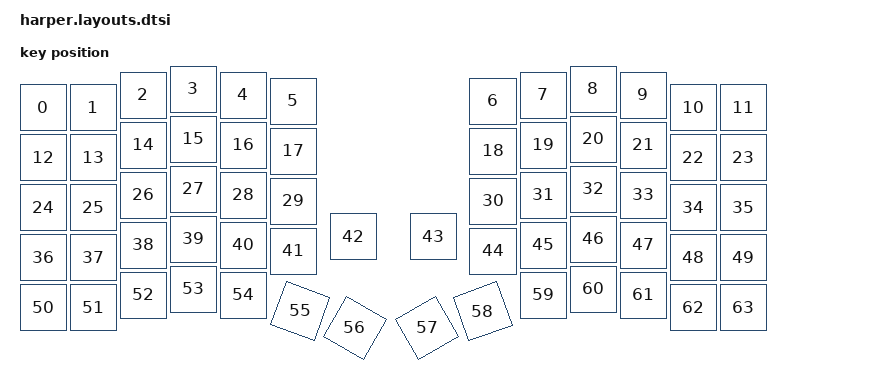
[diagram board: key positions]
#include <physical_layouts.dtsi>

/ {
    harper_position_map: harper_position_map {
        compatible = "zmk,physical-layout-position-map";
        complete;
    };
};

&harper_position_map {
    harper_posmap: full {
        physical-layout = <&harper_layout>;
        positions
            = < 0  1  2  3  4  5        6  7  8  9  10 11 >
            , < 12 13 14 15 16 17       18 19 20 21 22 23 >
            , < 24 25 26 27 28 29       30 31 32 33 34 35 >
            , < 36 37 38 39 40 41       42 43 44 45 46 47 >
            , < 48 49 50 51 52 53 54 55 56 57 58 59 60 61 62 63>;
    };
};

/ {
    harper_layout: harper_layout {
        compatible = "zmk,physical-layout";
        display-name = "Default";

        keys  //                     w   h    x    y     rot    rx    ry
            = <&key_physical_attrs 100 100    0   37       0     0     0>
            , <&key_physical_attrs 100 100  100   37       0     0     0>
            , <&key_physical_attrs 100 100  200   12       0     0     0>
            , <&key_physical_attrs 100 100  300    0       0     0     0>
            , <&key_physical_attrs 100 100  400   12       0     0     0>
            , <&key_physical_attrs 100 100  500   24       0     0     0>
            , <&key_physical_attrs 100 100  900   24       0     0     0>
            , <&key_physical_attrs 100 100 1000   12       0     0     0>
            , <&key_physical_attrs 100 100 1100    0       0     0     0>
            , <&key_physical_attrs 100 100 1200   12       0     0     0>
            , <&key_physical_attrs 100 100 1300   37       0     0     0>
            , <&key_physical_attrs 100 100 1400   37       0     0     0>
            , <&key_physical_attrs 100 100    0  137       0     0     0>
            , <&key_physical_attrs 100 100  100  137       0     0     0>
            , <&key_physical_attrs 100 100  200  112       0     0     0>
            , <&key_physical_attrs 100 100  300  100       0     0     0>
            , <&key_physical_attrs 100 100  400  112       0     0     0>
            , <&key_physical_attrs 100 100  500  124       0     0     0>
            , <&key_physical_attrs 100 100  900  124       0     0     0>
            , <&key_physical_attrs 100 100 1000  112       0     0     0>
            , <&key_physical_attrs 100 100 1100  100       0     0     0>
            , <&key_physical_attrs 100 100 1200  112       0     0     0>
            , <&key_physical_attrs 100 100 1300  137       0     0     0>
            , <&key_physical_attrs 100 100 1400  137       0     0     0>
            , <&key_physical_attrs 100 100    0  237       0     0     0>
            , <&key_physical_attrs 100 100  100  237       0     0     0>
            , <&key_physical_attrs 100 100  200  212       0     0     0>
            , <&key_physical_attrs 100 100  300  200       0     0     0>
            , <&key_physical_attrs 100 100  400  212       0     0     0>
            , <&key_physical_attrs 100 100  500  224       0     0     0>
            , <&key_physical_attrs 100 100  900  224       0     0     0>
            , <&key_physical_attrs 100 100 1000  212       0     0     0>
            , <&key_physical_attrs 100 100 1100  200       0     0     0>
            , <&key_physical_attrs 100 100 1200  212       0     0     0>
            , <&key_physical_attrs 100 100 1300  237       0     0     0>
            , <&key_physical_attrs 100 100 1400  237       0     0     0>
            , <&key_physical_attrs 100 100    0  337       0     0     0>
            , <&key_physical_attrs 100 100  100  337       0     0     0>
            , <&key_physical_attrs 100 100  200  312       0     0     0>
            , <&key_physical_attrs 100 100  300  300       0     0     0>
            , <&key_physical_attrs 100 100  400  312       0     0     0>
            , <&key_physical_attrs 100 100  500  324       0     0     0>
            , <&key_physical_attrs 100 100  620  295       0     0     0>
            , <&key_physical_attrs 100 100  780  295       0     0     0>
            , <&key_physical_attrs 100 100  900  324       0     0     0>
            , <&key_physical_attrs 100 100 1000  312       0     0     0>
            , <&key_physical_attrs 100 100 1100  300       0     0     0>
            , <&key_physical_attrs 100 100 1200  312       0     0     0>
            , <&key_physical_attrs 100 100 1300  337       0     0     0>
            , <&key_physical_attrs 100 100 1400  337       0     0     0>
            , <&key_physical_attrs 100 100    0  437       0     0     0>
            , <&key_physical_attrs 100 100  100  437       0     0     0>
            , <&key_physical_attrs 100 100  200  412       0     0     0>
            , <&key_physical_attrs 100 100  300  400       0     0     0>
            , <&key_physical_attrs 100 100  400  412       0     0     0>
            , <&key_physical_attrs 100 100  535  430    2000   535   430>
            , <&key_physical_attrs 100 100  655  460    3000   655   460>
            , <&key_physical_attrs 100 100  750  510 (-3000)   750   510>
            , <&key_physical_attrs 100 100  865  465 (-2000)   865   465>
            , <&key_physical_attrs 100 100 1000  412       0     0     0>
            , <&key_physical_attrs 100 100 1100  400       0     0     0>
            , <&key_physical_attrs 100 100 1200  412       0     0     0>
            , <&key_physical_attrs 100 100 1300  437       0     0     0>
            , <&key_physical_attrs 100 100 1400  437       0     0     0>
        ;
    };
};
